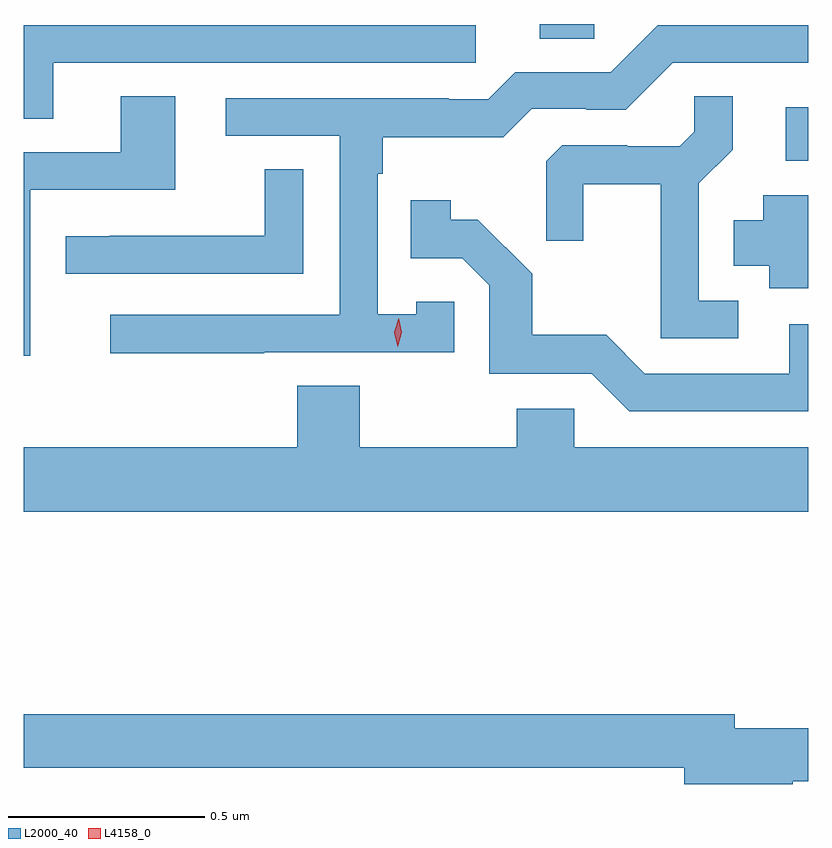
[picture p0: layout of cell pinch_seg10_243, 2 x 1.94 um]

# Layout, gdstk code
import gdstk
lib = gdstk.Library(unit=1e-6, precision=1e-09)
def R(c, l, rs):  # rectangles x0, y0, x1, y1
    for r in rs: c.add(gdstk.rectangle(r[:2], r[2:], *l))
def P(c, l, *ps):  # polygons
    for p in ps: c.add(gdstk.Polygon(p, *l))
L2000_40 = (2000, 40)
L4158_0 = (4158, 0)

pinch_seg10_243 = lib.new_cell('pinch_seg10_243')
R(pinch_seg10_243, L2000_40, [(620.481,1294.551,620.538,1294.687), (619.853,1294.861,619.992,1294.899)])
P(pinch_seg10_243, L2000_40, [(619.151,1294.062),(619.635,1294.062),(619.635,1294.191),(619.539,1294.191),(619.539,1294.159),(619.44,1294.159),(619.44,1294.517),(619.453,1294.517),(619.453,1294.61),(619.76,1294.61),(619.833,1294.683),(619.972,1294.683),(619.972,1294.68),(620.073,1294.68),(620.193,1294.8),(620.538,1294.8),(620.538,1294.896),(620.154,1294.896),(620.034,1294.776),(619.791,1294.776),(619.722,1294.707),(619.622,1294.707),(619.622,1294.71),(619.053,1294.71),(619.053,1294.614),(619.344,1294.614),(619.344,1294.158),(618.759,1294.158),(618.759,1294.06),(619.151,1294.06)],
  [(618.613,1294.8),(619.69,1294.8),(619.69,1294.896),(618.538,1294.896),(618.538,1294.657),(618.613,1294.657)],
  [(618.555,1294.476),(618.925,1294.476),(618.925,1294.715),(618.785,1294.715),(618.785,1294.572),(618.538,1294.572),(618.538,1294.053),(618.555,1294.053)],
  [(620.359,1294.194),(620.259,1294.194),(620.259,1294.493),(620.345,1294.579),(620.345,1294.715),(620.247,1294.715),(620.247,1294.624),(620.21,1294.587),(620.076,1294.587),(620.076,1294.59),(619.911,1294.59),(619.87,1294.549),(619.87,1294.347),(619.964,1294.347),(619.964,1294.49),(620.162,1294.49),(620.162,1294.098),(620.359,1294.098)],
  [(619.251,1294.529),(619.153,1294.529),(619.153,1294.359),(618.757,1294.359),(618.757,1294.358),(618.645,1294.358),(618.645,1294.263),(619.251,1294.263)],
  [(620.538,1294.462),(620.423,1294.462),(620.423,1294.399),(620.348,1294.399),(620.348,1294.283),(620.438,1294.283),(620.438,1294.226),(620.538,1294.226)],
  [(620.538,1294.134),(620.489,1294.134),(620.489,1294.008),(620.121,1294.008),(620.023,1294.107),(619.834,1294.107),(619.834,1294.262),(619.696,1294.4),(619.626,1294.4),(619.626,1294.45),(619.525,1294.45),(619.525,1294.302),(619.656,1294.302),(619.725,1294.233),(619.725,1294.008),(619.986,1294.008),(620.082,1293.912),(620.538,1293.912)],
  [(620.538,1293.82),(619.941,1293.82),(619.941,1293.918),(619.795,1293.918),(619.795,1293.82),(619.395,1293.82),(619.395,1293.977),(619.235,1293.977),(619.235,1293.82),(618.538,1293.82),(618.538,1293.656),(620.538,1293.656)],
  [(620.498,1292.969),(620.538,1292.969),(620.538,1293.104),(620.35,1293.104),(620.35,1293.14),(618.538,1293.14),(618.538,1293.004),(620.222,1293.004),(620.222,1292.962),(620.498,1292.962)])
P(pinch_seg10_243, L4158_0, [(619.491,1294.077),(619.491,1294.077),(619.482,1294.114),(619.494,1294.149),(619.494,1294.149),(619.494,1294.149),(619.502,1294.113),(619.491,1294.077)])

lib.write_gds('pinch_seg10_243.gds')
